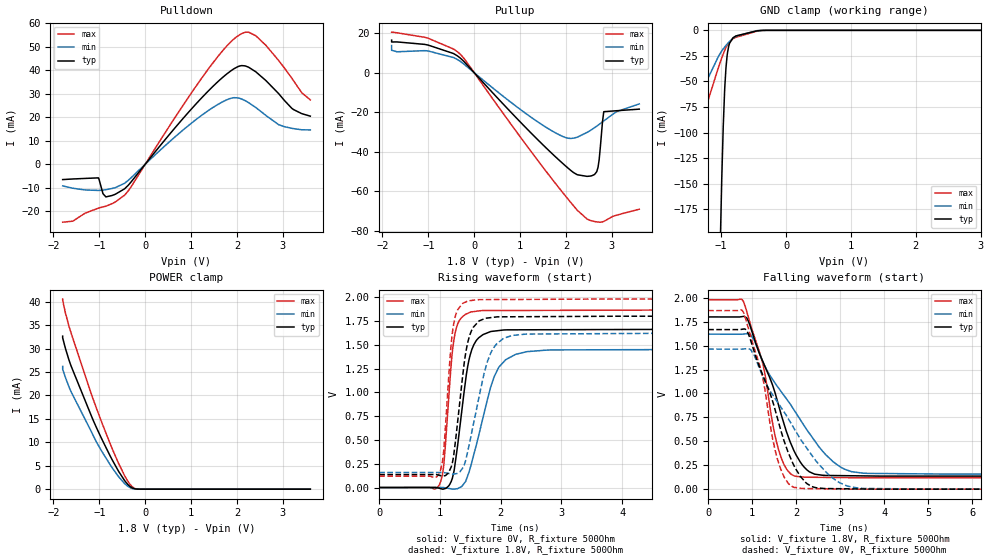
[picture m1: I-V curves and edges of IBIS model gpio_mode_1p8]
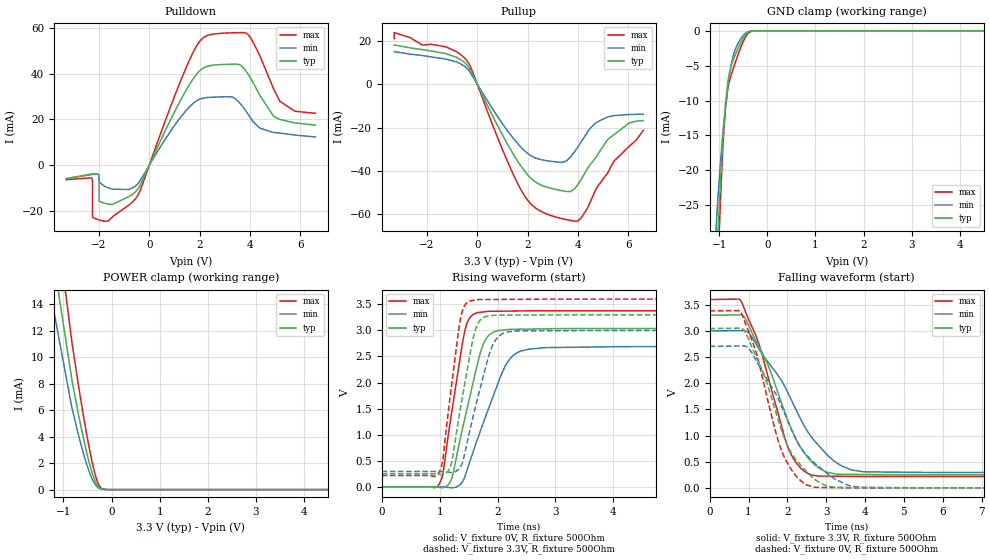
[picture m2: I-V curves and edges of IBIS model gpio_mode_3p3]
|Texas Instruments Incorporated
| DP83826 Robust, Low Power 10/100 Ethernet Physical Layer Transceiver
[IBIS Ver] 4.1
[File name] dp83826.ibs
[File Rev] 1.0
[Date] 10/18/2019
[Source]
| Texas Instruments Incorporated.
| 12500 TI Blvd
| Dallas, TX -75243
[Notes] Revision History:
| Rev 1.0: 02/18/2019
| - Initial version of the model
| - Model generated from simulations in TISPICE/SPECTRE
| - C_comp although listed in numerical order of value are
| obtained from varying PVT conditions. For PVT conditions for
| each specific value refer the buffer description under
| respective [Model]. IBIS model user is responsible for using
| appropriate C_comp to simulate for Signal Integrity.
| - Warnings regarding combined Non-monotonicity of various models have been
| reviewed and considered minor and can be ignored.
|**** Modify the following if you use [Model Selector]*****************
| - Model names with a trailing _1p8 contain the model for
| 1.8V operation. Model names with a trailing _3p3 contain the model
| for 3.3V operation.
[Disclaimer]
| This model is designed as an aid for customers of Texas Instruments.
| TI and its licensors and suppliers make no warranties, either expressed
| or implied, with respect to this model, including the warranties of
| merchantability or fitness for a particular purpose. The model is
| provided solely on an "as is" basis. The entire risk as to its quality
| and performance is with the customer.
| This model is subject to change without notice. Texas Instruments
| Incorporated is not responsible for updating this model.
[Copyright]
 (C) Copyright 2019  Texas Instruments Incorporated. All rights reserved.
[Component] DP83826
[Manufacturer] Texas Instruments Incorporated
[Package] |QFN 32-pin
| variable typ min max
R_pkg 0.05 0.04 0.06
L_pkg 1.0nH 0.8nH 1.2nH
C_pkg 0.2pF 0.16pF 0.24pF
| pin number (pin name) mapping to model name
[Pin] signal_name   model_name   R_pin   L_pin   C_pin
1	MODESELECT   gpio_mode   NA   NA   NA
2	CEXT   nc   NA   NA   NA
3	VDDA3V3   power   NA   NA   NA
4	RD_M   nc   NA   NA   NA
5	RD_P   nc   NA   NA   NA
6	TD_M   nc   NA   NA   NA
7	TD_P   nc   NA   NA   NA
8	XO   nc   NA   NA   NA
9	XI   nc   NA   NA   NA
10	RBIAS   nc   NA   NA   NA
11	MDIO   gpio_mode   NA   NA   NA
12	MDC   gpio_mode   NA   NA   NA
13	RX_D3   gpio_mode   NA   NA   NA
14	RX_D2   gpio_mode   NA   NA   NA
15	RX_D1   gpio_mode   NA   NA   NA
16	RX_D0   gpio_mode   NA   NA   NA
17	VDDIO   power   NA   NA   NA
18	RX_DV   gpio_mode   NA   NA   NA
19	RX_CLK   gpio_mode   NA   NA   NA
20	RX_ER   gpio_mode   NA   NA   NA
21	PWRDN   gpio_mode   NA   NA   NA
22	TX_CLK   gpio_mode   NA   NA   NA
23	TX_EN   gpio_mode   NA   NA   NA
24	TX_D0   gpio_mode   NA   NA   NA
25	TX_D1   gpio_mode   NA   NA   NA
26	TX_D2   gpio_mode   NA   NA   NA
27	TX_D3   gpio_mode   NA   NA   NA
28	COL   gpio_mode   NA   NA   NA
29	CRS   gpio_mode   NA   NA   NA
30	LED0   gpio_mode   NA   NA   NA
31	CLKOUT   gpio_mode   NA   NA   NA
32	RST   gpio_mode   NA   NA   NA
| Model Selectors
|***Modify the following as it applies to a speciic model with multiple ****
|*** powver supply options or driver programmability *********
[Model Selector] gpio_mode
gpio_mode_1p8 1.8V operation.
gpio_mode_3p3 3.3V operation.
| Models and submodels in the file (2): gpio_mode_1p8 (I/O), gpio_mode_3p3 (I/O)
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| Model1
[Model]   gpio_mode_1p8
Model_type   I/O
Polarity   Non-Inverting
Enable   Active-Low
Vinl = 0.5
Vinh = 1.3
Vmeas = 0.9
Vref = 0
Cref = 2pF
Rref = 100000
|   typ   min   max
C_comp   5pF   5pF   5pF
[Voltage Range]   1.8   1.62   1.98
[Temperature Range]   25   105   -40
[Pullup Reference]   1.8   1.62   1.98
[Pulldown Reference]   -0   0   -0
[Power Clamp Reference]   1.8   1.62   1.98
[GND Clamp Reference]   0   0   0
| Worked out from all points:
|   slope of the pulldown table from 0 to 0.27 V, typ, clamps not added: 41.2 ohm
|   slope of the pullup table from 0 to 0.27 V, typ, clamps not added: 39.5 ohm
|   POWER clamp passes 1 mA (typ) near -0.38 V on its own axis
|   falling waveform, V_fixture 1.8V, R_fixture 500Ohm: 20-80 % time 761ps typ, 1.26ns min, 515ps max; typ from 1.8 V to 0.136 V
|   rising waveform, V_fixture 0V, R_fixture 500Ohm: 20-80 % time 208ps typ, 362ps min, 137ps max; typ from 0 V to 1.67 V
|   rising waveform, V_fixture 1.8V, R_fixture 500Ohm: 20-80 % time 187ps typ, 302ps min, 127ps max; typ from 0.136 V to 1.8 V
|   falling waveform, V_fixture 0V, R_fixture 500Ohm: 20-80 % time 744ps typ, 1.21ns min, 506ps max; typ from 1.67 V to 0 V
[Pulldown]
|   Voltage   I(typ)   I(min)   I(max)
-1.8V     -6.53mA    -9.22mA    -24.65mA
-1.019V   -5.803mA   -11.15mA   -18.68mA
-920.7mV  -12.54mA   -11mA      -18.15mA
-857.7mV  -13.9mA    -10.83mA   -17.86mA
-449.9mV  -10.46mA   -8.11mA    -13.17mA
1.324V    30.11mA    22.11mA    39.09mA
1.863V    39.65mA    28.02mA    51.99mA
2.108V    41.94mA    27.69mA    55.57mA
2.25V     41.3mA     26.25mA    56.19mA
2.625V    35.68mA    20.85mA    50.69mA
3.198V    23.75mA    15.26mA    36.57mA
3.6V      20.44mA    14.58mA    27.36mA
[GND Clamp]
|   Voltage   I(typ)   I(min)   I(max)
-1.8V     -2.619A    -144.8mA   -197.3mA
-1.294V   -1.067A    -60.8mA    -87.79mA
-1.015V   -213.8mA   -22.64mA   -31.33mA
-991.1mV  -145.6mA   -20.24mA   -26.96mA
-968.1mV  -94.23mA   -18.17mA   -23.09mA
-947.4mV  -60.15mA   -16.45mA   -19.86mA
-925.8mV  -36.55mA   -14.77mA   -16.83mA
-901.5mV  -21.58mA   -13.01mA   -13.95mA
-870.7mV  -12.68mA   -10.94mA   -11.11mA
-775.1mV  -5.595mA   -5.775mA   -6.886mA
-329.9mV  -37uA      -24.38uA   -59.36uA
3.6V      0A         0A         0A
[Pullup]
|   Voltage   I(typ)   I(min)   I(max)
-1.8V     16.46mA    13.7mA     20.45mA
-1.8V     15.53mA    11.33mA    20.53mA
-1.68V    15.55mA    10.57mA    20.16mA
-1.001V   13.93mA    10.95mA    17.39mA
-317.3mV  7.653mA    5.947mA    9.606mA
1.491V    -36.33mA   -26.52mA   -47.61mA
1.989V    -47.14mA   -32.81mA   -62.36mA
2.25V     -51.68mA   -32.64mA   -69.68mA
2.673V    -50.07mA   -27.04mA   -75.53mA
2.724V    -44.2mA    -26.18mA   -75.64mA
2.826V    -19.75mA   -24.44mA   -75.28mA
3.6V      -18.46mA   -15.81mA   -69.08mA
[POWER Clamp]
|   Voltage   I(typ)   I(min)   I(max)
-1.8V     32.65mA    26.21mA    40.58mA
-1.8V     32.33mA    25.64mA    40.4mA
-1.767V   31.05mA    24.64mA    38.81mA
-1.618V   26.33mA    20.82mA    33.4mA
-1.186V   15.92mA    12.5mA     20.59mA
-1.064V   13.16mA    10.08mA    17.31mA
-767mV    7.141mA    5.258mA    9.758mA
-571.3mV  3.661mA    2.552mA    5.305mA
-407.8mV  1.321mA    833uA      2.162mA
-270mV    203.4uA    121.2uA    404.9uA
-64.39mV  603.4nA    747.6nA    674.8nA
3.6V      0A         0A         0A
[Ramp]
R_load = 500
|   typ   min   max
dV/dt_r   1.00071/2.0679e-10   0.878313/3.60276e-10   1.11991/1.35724e-10
dV/dt_f   0.99816/7.60927e-10   0.877185/1.25837e-09   1.11637/5.16688e-10
[Falling Waveform]
V_fixture = 1.8V
V_fixture_min = 1.62V
V_fixture_max = 1.98V
R_fixture = 500Ohm
C_fixture = 0F
|   Time   V(typ)   V(min)   V(max)
0s        1.8V       1.62V      1.98V
796ps     1.805V     1.621V     1.966V
965.9ps   1.688V     1.615V     1.715V
1.242ns   1.334V     1.335V     1.31V
1.64ns    810.8mV    1.032V     354.3mV
1.88ns    476.4mV    878.9mV    157.1mV
2.15ns    248.3mV    686.8mV    126.8mV
2.842ns   142.6mV    286.3mV    121.9mV
3.616ns   138.2mV    165.1mV    119.4mV
50ns      136.4mV    158mV      119.4mV
[Rising Waveform]
V_fixture = 0V
V_fixture_min = 0V
V_fixture_max = 0V
R_fixture = 500Ohm
C_fixture = 0F
|   Time   V(typ)   V(min)   V(max)
0s        1.462uV    4.055uV    754.1nV
979.4ps   -6.509mV   98.8uV     17.17mV
1.06ns    -15.42mV   -257.2uV   222.4mV
1.191ns   73.96mV    -14.8mV    1.341V
1.259ns   297.8mV    -14.29mV   1.652V
1.475ns   1.335V     156.8mV    1.835V
1.672ns   1.59V      639.6mV    1.858V
2.081ns   1.656V     1.343V     1.86V
2.842ns   1.658V     1.446V     1.861V
50ns      1.668V     1.464V     1.867V
[Rising Waveform]
V_fixture = 1.8V
V_fixture_min = 1.62V
V_fixture_max = 1.98V
R_fixture = 500Ohm
C_fixture = 0F
|   Time   V(typ)   V(min)   V(max)
0s        136.4mV    158mV      119.4mV
979.4ps   129.8mV    158.1mV    138.7mV
1.056ns   120mV      158.1mV    354.1mV
1.142ns   157.7mV    147.6mV    1.15V
1.265ns   540.5mV    145.5mV    1.826V
1.44ns    1.471V     331.1mV    1.954V
1.619ns   1.734V     878.6mV    1.974V
1.882ns   1.789V     1.467V     1.975V
2.432ns   1.795V     1.612V     1.976V
50ns      1.8V       1.62V      1.98V
[Falling Waveform]
|Gnd
V_fixture = 0V
V_fixture_min = 0V
V_fixture_max = 0V
R_fixture = 500Ohm
C_fixture = 0F
|   Time   V(typ)   V(min)   V(max)
0s        1.668V     1.464V     1.867V
796ps     1.673V     1.465V     1.852V
965.9ps   1.554V     1.458V     1.598V
1.221ns   1.215V     1.198V     1.206V
1.611ns   681.8mV    886.1mV    260.3mV
1.825ns   377.1mV    733.8mV    58.12mV
2.107ns   128.3mV    516.3mV    8.455mV
2.842ns   5.616mV    112.8mV    2.648mV
3.521ns   2.104mV    7.78mV     53.39uV
50ns      1.461uV    4.054uV    690.2nV
| Model2
[Model]   gpio_mode_3p3
Model_type   I/O
Polarity   Non-Inverting
Enable   Active-Low
Vinl = 0.8
Vinh = 1.7
Vmeas = 1.65
Vref = 0
Cref = 2pF
Rref = 100000
|   typ   min   max
C_comp   5pF   5pF   5pF
[Voltage Range]   3.3   3   3.6
[Temperature Range]   25   105   -40
[Pullup Reference]   3.3   3   3.6
[Pulldown Reference]   -0   0   -0
[Power Clamp Reference]   3.3   3   3.6
[GND Clamp Reference]   0   0   0
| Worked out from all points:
|   slope of the pulldown table from 0 to 0.495 V, typ, clamps not added: 41.7 ohm
|   slope of the pullup table from 0 to 0.495 V, typ, clamps not added: 41.5 ohm
|   GND clamp passes 1 mA (typ) near -0.49 V on its own axis
|   POWER clamp passes 1 mA (typ) near -0.38 V on its own axis
|   falling waveform, V_fixture 3.3V, R_fixture 500Ohm: 20-80 % time 1ns typ, 1.33ns min, 776ps max; typ from 3.3 V to 0.251 V
|   rising waveform, V_fixture 0V, R_fixture 500Ohm: 20-80 % time 374ps typ, 531ps min, 276ps max; typ from 0 V to 3.04 V
|   rising waveform, V_fixture 3.3V, R_fixture 500Ohm: 20-80 % time 283ps typ, 363ps min, 225ps max; typ from 0.251 V to 3.3 V
|   falling waveform, V_fixture 0V, R_fixture 500Ohm: 20-80 % time 913ps typ, 1.2ns min, 726ps max; typ from 3.04 V to 0 V
[Pulldown]
|   Voltage   I(typ)   I(min)   I(max)
-3.3V     -5.939mA   -6.077mA   -6.433mA
-2.292V   -3.938mA   -4.121mA   -5.599mA
-2.259V   -3.898mA   -4.085mA   -6.83mA
-2.259V   -3.898mA   -4.085mA   -22.89mA
-2.024V   -4.011mA   -4.364mA   -24.02mA
-1.994V   -4.478mA   -7.43mA    -24.13mA
-1.994V   -15.94mA   -7.432mA   -24.13mA
-683.5mV  -13.01mA   -10.13mA   -16.39mA
2.369V    43.51mA    29.67mA    57.06mA
3.909V    40.09mA    22.54mA    57.4mA
5.186V    19.99mA    14.03mA    27.97mA
6.6V      17.52mA    12.31mA    22.68mA
[GND Clamp]
|   Voltage   I(typ)   I(min)   I(max)
-3.3V     -478.4mA   -407.5mA   -546.6mA
-1.064V   -34.98mA   -28mA      -40.46mA
-1.022V   -28.34mA   -23.27mA   -32.44mA
-956.4mV  -19.2mA    -17.18mA   -21.21mA
-917.1mV  -14.66mA   -14.12mA   -15.73mA
-872.6mV  -10.62mA   -11.06mA   -11.26mA
-799.1mV  -6.376mA   -6.863mA   -7.525mA
-742.4mV  -4.802mA   -4.547mA   -6.135mA
-666.5mV  -3.437mA   -2.662mA   -4.538mA
-539.2mV  -1.535mA   -1.006mA   -2.148mA
-400.8mV  -227.3uA   -126.9uA   -380.4uA
6.6V      0A         0A         0A
[Pullup]
|   Voltage   I(typ)   I(min)   I(max)
-3.3V     18.03mA    14.95mA    20.95mA
-3.3V     18.03mA    14.95mA    23.73mA
-1.247V   14.02mA    11.5mA     17.19mA
-488.8mV  9.785mA    8.034mA    11.82mA
1.697V    -37.06mA   -28.53mA   -47.8mA
2.144V    -43.47mA   -33.04mA   -55.3mA
2.851V    -47.7mA    -35.4mA    -60.17mA
3.558V    -49.43mA   -35.13mA   -62.4mA
4.123V    -44mA      -26.71mA   -61.71mA
4.686V    -34.21mA   -18.08mA   -49.09mA
5.163V    -25.79mA   -15.18mA   -41.2mA
6.6V      -16.74mA   -13.82mA   -21.24mA
[POWER Clamp]
|   Voltage   I(typ)   I(min)   I(max)
-3.3V     244.9mA    173.5mA    317.8mA
-1.712V   29.31mA    23.43mA    36.53mA
-824.9mV  8.317mA    6.204mA    11.17mA
-636.5mV  4.781mA    3.416mA    6.725mA
-542.2mV  3.205mA    2.207mA    4.695mA
-467.3mV  2.09mA     1.379mA    3.219mA
-400.7mV  1.241mA    778.1uA    2.045mA
-328mV    539.8uA    320.1uA    990.4uA
-295.3mV  323.7uA    190.2uA    625.4uA
-234.5mV  95.39uA    59.69uA    189.9uA
-52.4mV   366.2nA    486.7nA    377.9nA
6.6V      0A         0A         0A
[Ramp]
R_load = 500
|   typ   min   max
dV/dt_r   1.82708/3.73448e-10   1.62352/5.31181e-10   2.02875/2.76598e-10
dV/dt_f   1.8293/9.97498e-10   1.62307/1.32666e-09   2.02939/7.7438e-10
[Falling Waveform]
V_fixture = 3.3V
V_fixture_min = 3V
V_fixture_max = 3.6V
R_fixture = 500Ohm
C_fixture = 0F
|   Time   V(typ)   V(min)   V(max)
0s        3.3V       3V         3.6V
805ps     3.307V     3.006V     3.572V
1ns       3.112V     2.971V     3.224V
1.278ns   2.686V     2.647V     2.732V
2.045ns   1.229V     1.77V      722mV
2.351ns   760.9mV    1.303V     373.5mV
2.762ns   407.7mV    844.6mV    228.1mV
3.334ns   260.2mV    447.4mV    222.1mV
4.027ns   255.5mV    305.5mV    217.7mV
50ns      251.2mV    294.9mV    217.7mV
[Rising Waveform]
V_fixture = 0V
V_fixture_min = 0V
V_fixture_max = 0V
R_fixture = 500Ohm
C_fixture = 0F
|   Time   V(typ)   V(min)   V(max)
0s        1.514uV    3.964uV    742.1nV
995.8ps   -11.61mV   231.4uV    59.24mV
1.063ns   -13.05mV   -540uV     293.1mV
1.208ns   160.8mV    -18.76mV   1.424V
1.451ns   1.387V     245.2mV    3.058V
1.689ns   2.512V     1.024V     3.346V
1.815ns   2.861V     1.411V     3.364V
2.226ns   3.021V     2.47V      3.371V
2.866ns   3.031V     2.671V     3.376V
50ns      3.045V     2.706V     3.381V
[Rising Waveform]
V_fixture = 3.3V
V_fixture_min = 3V
V_fixture_max = 3.6V
R_fixture = 500Ohm
C_fixture = 0F
|   Time   V(typ)   V(min)   V(max)
0s        251.2mV    294.9mV    217.7mV
991.7ps   240.1mV    295.1mV    276.8mV
1.058ns   236mV      295mV      547mV
1.197ns   428mV      276.4mV    1.861V
1.369ns   1.569V     403.2mV    3.267V
1.466ns   2.177V     801.8mV    3.528V
1.654ns   3.114V     1.689V     3.59V
1.944ns   3.29V      2.777V     3.593V
2.368ns   3.293V     2.991V     3.597V
50ns      3.3V       3V         3.6V
[Falling Waveform]
|Gnd
V_fixture = 0V
V_fixture_min = 0V
V_fixture_max = 0V
R_fixture = 500Ohm
C_fixture = 0F
|   Time   V(typ)   V(min)   V(max)
0s        3.045V     2.706V     3.381V
805ps     3.052V     2.712V     3.351V
992.3ps   2.859V     2.681V     3.007V
1.202ns   2.499V     2.427V     2.579V
1.882ns   1.035V     1.504V     653.6mV
2.254ns   511.5mV    882.2mV    202.5mV
2.694ns   171mV      478.7mV    12.76mV
3.236ns   11.18mV    164.6mV    4.898mV
3.938ns   4.688mV    10.3mV     57.99uV
50ns      1.523uV    3.96uV     742.2nV
